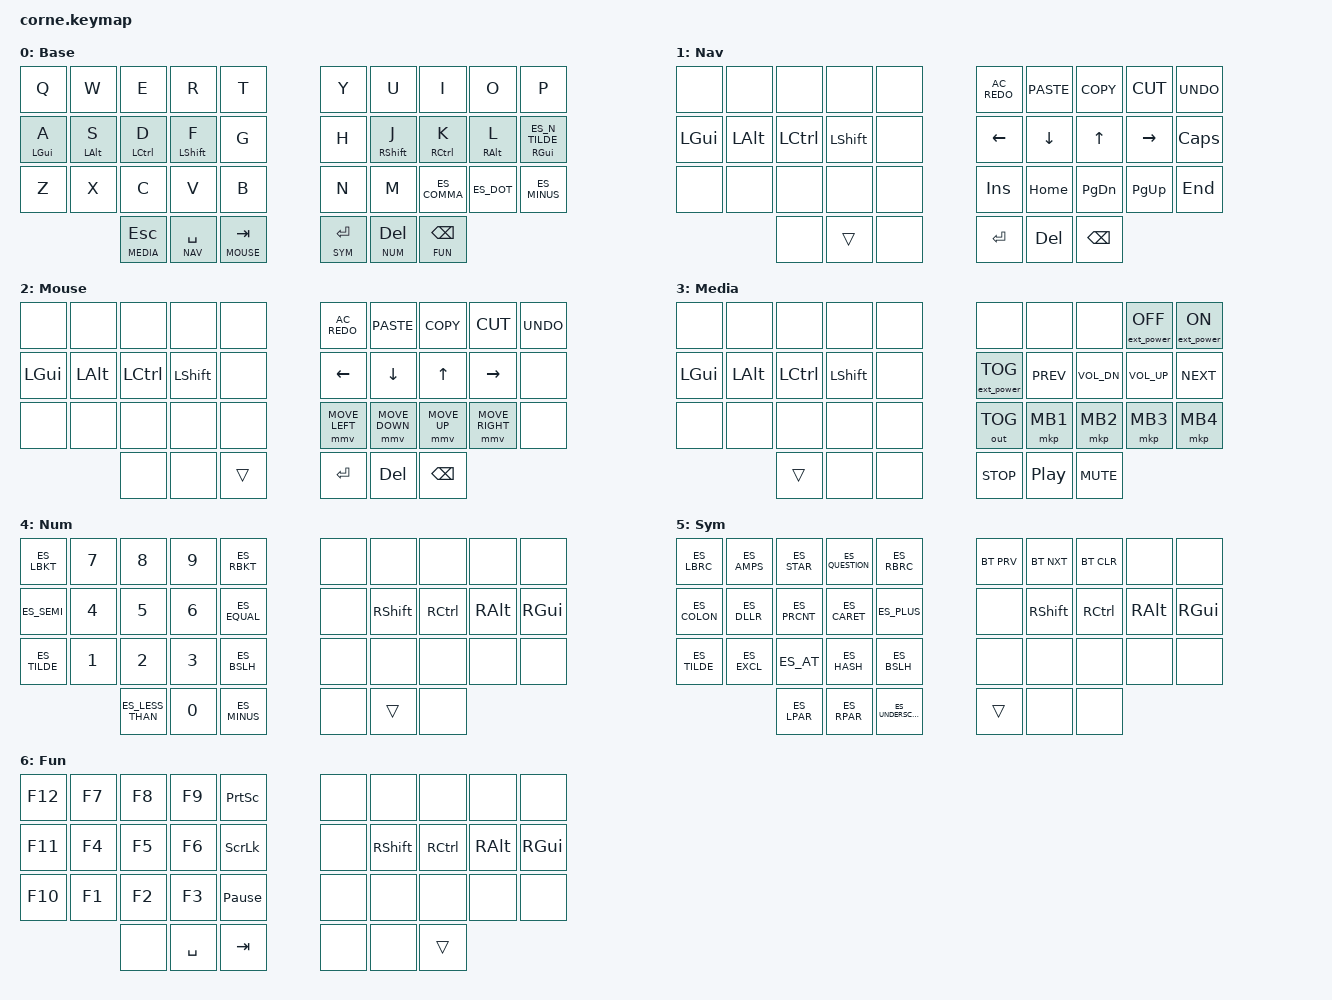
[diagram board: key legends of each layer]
#include <behaviors.dtsi>
#include <dt-bindings/zmk/bt.h>
#include <dt-bindings/zmk/ext_power.h>
#include <dt-bindings/zmk/keys.h>
#include <dt-bindings/zmk/pointing.h>
#include <dt-bindings/zmk/outputs.h>
#include "keys_es_latin_american.h"

#define BASE_TD     0
#define NAV         1
#define MOUSE       2
#define MEDIA       3
#define NUM         4
#define SYM         5
#define FUN         6

/ {
    chosen {
        zmk,physical-layout = &foostan_corne_5col_layout;
    };

    /* combos { */
    /*     compatible = "zmk,combos"; */
    /**/
    /*     er_less { */
    /*         bindings = <&kp ES_LT>; */
    /*         key-positions = <2 3>; */
    /*     }; */
    /**/
    /*     rt_greater { */
    /*         bindings = <&kp ES_GT>; */
    /*         key-positions = <3 4>; */
    /*     }; */
    /**/
    /*     yu_plus { */
    /*         bindings = <&kp ES_PLUS>; */
    /*         key-positions = <5 6>; */
    /*     }; */
    /**/
    /*     hj_minus { */
    /*         bindings = <&kp ES_MINUS>; */
    /*         key-positions = <15 16>; */
    /*     }; */
    /**/
    /*     nm_asterisk { */
    /*         bindings = <&kp ES_ASTERISK>; */
    /*         key-positions = <25 26>; */
    /*     }; */
    /**/
    /*     space_enter_base { */
    /*         timeout-ms = <100>; */
    /*         key-positions = <32 33>; */
    /*         layers = <BASE_TD BASE_NORMAL>; */
    /*         bindings = <&base_hold BASE_NORMAL 0>; */
    /*     }; */
    /* }; */

    /* behaviors { */
    /*     td_lshft_caps: td_lshft_caps { */
    /*         compatible = "zmk,behavior-tap-dance"; */
    /*         label = "TD_LSHFT_CAPS"; */
    /*         #binding-cells = <0>; */
    /*         tapping-term-ms = <200>; */
    /*         bindings = <&kp LSHFT>, <&kp CAPS>; */
    /*     }; */
    /**/
    /*     base_hold: base_hold { */
    /*         compatible = "zmk,behavior-hold-tap"; */
    /*         #binding-cells = <2>; */
    /*         flavor = "tap-preferred"; */
    /*         tapping-term-ms = <2000>; */
    /*         bindings = <&tog>, <&none>; */
    /*     }; */
    /* }; */
    behaviors {
      ht: hold_tap {
        compatible = "zmk,behavior-hold-tap";
        #binding-cells = <2>;
        flavor = "tap-preferred";
        tapping-term-ms = <200>;
        quick-tap-ms= <200>;
        bindings = <&kp>, <&kp>;
        display-name = "hold_tap";
        retro-tap;
      };

      ht_gui: hold_tap_gui {
        compatible = "zmk,behavior-hold-tap";
        #binding-cells = <2>;
        flavor = "tap-preferred";
        tapping-term-ms = <180>;
        quick-tap-ms= <200>;
        bindings = <&kp>, <&kp>;
        display-name = "hold_tap_gui";
        retro-tap;
      };

      htl: hold_tap_l {
        compatible = "zmk,behavior-hold-tap";
        #binding-cells = <2>;
        flavor = "tap-preferred";
        tapping-term-ms = <150>;
        quick-tap-ms= <200>;
        bindings = <&kp>, <&kp>;
        display-name = "hold_tap_l";
        retro-tap;
      };

      html: hold_tap_mod_layer {
        compatible = "zmk,behavior-hold-tap";
        #binding-cells = <2>;
        flavor = "tap-preferred";
        tapping-term-ms = <200>;
        quick-tap-ms= <200>;
        bindings = <&mo>, <&kp>;
        display-name = "hold_tap_mod_layer";
        retro-tap;
      };
    };

    keymap {
        compatible = "zmk,keymap";

        base {
            display-name = "Base";
            bindings = <
    &kp Q  &kp W  &kp E  &kp R  &kp T  &kp Y  &kp U  &kp I  &kp O  &kp P
    &ht_gui LGUI A  &ht LALT S  &ht LCTRL D  &htl LSHFT F  &kp G  &kp H  &htl RSHFT J  &ht RCTRL K  &ht RALT L  &ht_gui RGUI ES_N_TILDE
    &kp Z  &kp X  &kp C  &kp V  &kp B  &kp N  &kp M  &kp ES_COMMA  &kp ES_DOT  &kp ES_MINUS
                   &html MEDIA ESC  &html NAV SPACE  &html MOUSE TAB        &html SYM RET  &html NUM DEL  &html FUN BSPC
            >;
        };

        nav {
          display-name = "Nav";
          bindings = <
    &none  &none  &none  &none  &none  &kp C_AC_REDO  &kp K_PASTE  &kp K_COPY  &kp K_CUT  &kp K_UNDO
    &kp LGUI  &kp LALT  &kp LCTRL  &kp LSHFT &none  &kp LEFT  &kp DOWN  &kp UP  &kp RIGHT  &kp CAPS
    &none  &none  &none  &none  &none  &kp INS  &kp HOME  &kp PG_DN  &kp PG_UP  &kp END
                   &none  &trans   &none         &kp RET  &kp DEL  &kp BSPC
          >;
        };

        mouse {
          display-name = "Mouse";
          bindings = <
    &none  &none  &none  &none  &none  &kp C_AC_REDO  &kp K_PASTE  &kp K_COPY  &kp K_CUT  &kp K_UNDO
    &kp LGUI  &kp LALT  &kp LCTRL  &kp LSHFT &none  &kp LEFT  &kp DOWN  &kp UP  &kp RIGHT  &none
    &none  &none  &none  &none  &none  &mmv MOVE_LEFT  &mmv MOVE_DOWN  &mmv MOVE_UP  &mmv MOVE_RIGHT  &none
                   &none  &none  &trans          &kp RET  &kp DEL  &kp BSPC
          >;
        };

        media {
          display-name = "Media";
          bindings = <
    &none  &none  &none  &none  &none  &none  &none   &none   &ext_power EP_OFF  &ext_power EP_ON
    &kp LGUI  &kp LALT  &kp LCTRL  &kp LSHFT &none  &ext_power EP_TOG  &kp C_PREV  &kp C_VOL_DN  &kp C_VOL_UP  &kp C_NEXT
    &none  &none  &none  &none  &none  &out OUT_TOG  &mkp MB1  &mkp MB2  &mkp MB3  &mkp MB4
                   &trans  &none  &none          &kp C_STOP  &kp C_PP  &kp C_MUTE
          >;
        };

        num {
          display-name = "Num";
          bindings = <
    &kp ES_LBKT  &kp N7  &kp N8  &kp N9  &kp ES_RBKT  &none  &none  &none  &none  &none
    &kp ES_SEMI  &kp N4  &kp N5  &kp N6  &kp ES_EQUAL  &none  &kp RSHFT  &kp RCTRL  &kp RALT  &kp RGUI
    &kp ES_TILDE  &kp N1  &kp N2  &kp N3  &kp ES_BSLH  &none  &none  &none  &none  &none
                   &kp ES_LESS_THAN  &kp N0  &kp ES_MINUS        &none  &trans  &none
          >;
        };

        sym {
          display-name = "Sym";
          bindings = <
    &kp ES_LBRC  &kp ES_AMPS  &kp ES_STAR  &kp ES_QUESTION  &kp ES_RBRC  &bt BT_PRV  &bt BT_NXT  &bt BT_CLR  &none  &none
    &kp ES_COLON  &kp ES_DLLR  &kp ES_PRCNT  &kp ES_CARET  &kp ES_PLUS  &none  &kp RSHFT  &kp RCTRL  &kp RALT  &kp RGUI
    &kp ES_TILDE  &kp ES_EXCL  &kp ES_AT  &kp ES_HASH  &kp ES_BSLH  &none  &none  &none  &none  &none
                   &kp ES_LPAR  &kp ES_RPAR  &kp ES_UNDERSCORE        &trans  &none  &none
          >;
        };

        fun {
          display-name = "Fun";
          bindings = <
    &kp F12  &kp F7  &kp F8  &kp F9  &kp PSCRN  &none  &none  &none  &none  &none
    &kp F11  &kp F4  &kp F5  &kp F6  &kp SLCK  &none  &kp RSHFT  &kp RCTRL  &kp RALT  &kp RGUI
    &kp F10  &kp F1  &kp F2  &kp F3  &kp PAUSE_BREAK  &none  &none  &none  &none  &none
                   &none  &kp SPACE  &kp TAB        &none  &none  &trans
          >;
        };

    /*     // 1: Base con Shift normal. */
    /*     normal_base_layer { */
    /*         bindings = < */
    /* &kp Q  &kp W  &kp E  &kp R  &kp T  &kp Y  &kp U  &kp I  &kp O  &kp P */
    /* &kp A  &kp S  &kp D  &kp F  &kp G  &kp H  &kp J  &kp K  &kp L  &kp ES_N_TILDE */
    /* &kp Z  &kp X  &kp C  &kp V  &kp B  &kp N  &kp M  &kp COMMA  &kp DOT  &kp ES_MINUS */
    /*           &kp LALT  &mo RAISE  &kp SPACE        &kp RET  &mo LOWER  &kp INSERT */
    /*         >; */
    /*     }; */
    /**/
    /*     // 2: Lower. Shift hereda el comportamiento de la base activa. */
    /*     lower_layer { */
    /*         bindings = < */
    /* &kp ES_AT  &none  &none  &none  &none  &kp N7  &kp N8  &kp N9  &kp ES_PLUS  &kp ES_MINUS */
    /* &none  &none  &none  &kp ES_LPAR  &kp ES_RPAR  &kp N4  &kp N5  &kp N6  &kp N0  &kp UP_ARROW */
    /* &trans  &trans  &trans  &kp ES_QUESTION  &kp ES_EXCL  &kp N1  &kp N2  &kp N3  &kp LEFT_ARROW  &kp DOWN_ARROW */
    /*                           &kp LGUI  &trans  &kp SPACE           &kp RET  &trans  &kp RALT */
    /*         >; */
    /*     }; */
    /**/
    /*     // 3: Raise. */
    /*     raise_layer { */
    /*         bindings = < */
    /* &kp C_PREVIOUS  &kp C_NEXT  &kp C_MUTE  &kp C_VOLUME_DOWN  &kp C_VOLUME_UP  &kp KP_NUMBER_7  &kp KP_NUMBER_8  &kp KP_NUMBER_9  &kp ES_PLUS  &kp ES_MINUS */
    /* &bt BT_PRV  &bt BT_NXT  &bt BT_CLR  &kp ES_LPAR  &kp ES_RPAR  &kp KP_NUMBER_4  &kp KP_NUMBER_5  &kp KP_NUMBER_6  &kp HOME  &kp UP_ARROW */
    /* &trans  &trans  &trans  &kp ES_QUESTION  &kp ES_EXCL  &kp KP_NUMBER_1  &kp KP_NUMBER_2  &kp KP_NUMBER_3  &kp LEFT_ARROW  &kp DOWN_ARROW */
    /*                                             &kp LGUI  &trans  &kp SPACE                &kp RET  &trans  &kp RALT */
    /*         >; */
    /*     }; */
    /**/
    /*     // 4: Extra, activa al mantener Lower + Raise. */
    /*     extra_layer { */
    /*         bindings = < */
    /* &trans  &trans  &trans  &trans  &trans  &kp ES_EQUAL  &kp LS(SQT)  &kp ES_PIPE  &trans  &trans */
    /* &trans  &trans  &trans  &trans  &trans  &kp ES_DQT  &kp ES_SQT  &kp ES_BACKSLASH  &trans  &trans */
    /* &trans  &trans  &trans  &trans  &trans  &ext_power EP_ON  &ext_power EP_OFF  &trans  &trans  &trans */
    /*                            &trans  &trans  &kp SPACE    &kp ENTER  &trans  &kp RIGHT_ALT */
    /*         >; */
    /*     }; */
    };

    /* conditional_layers { */
    /*     compatible = "zmk,conditional-layers"; */
    /**/
    /*     extra_layer { */
    /*         if-layers = <LOWER RAISE>; */
    /*         then-layer = <EXTRA>; */
    /*     }; */
    /* }; */
};
